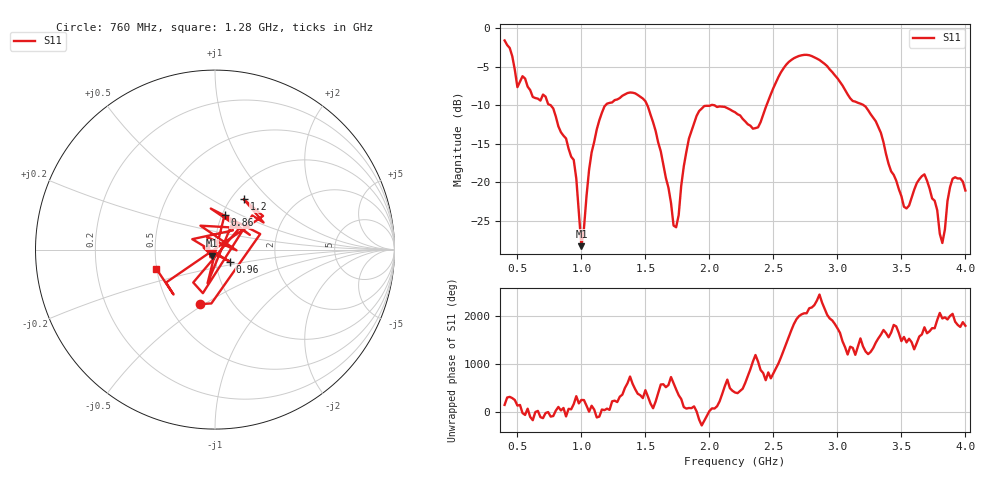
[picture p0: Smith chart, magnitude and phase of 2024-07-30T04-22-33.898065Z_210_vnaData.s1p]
!Created with skrf (http://scikit-rf.org).
# Hz S RI R 50.0
!freq ReS11 ImS11
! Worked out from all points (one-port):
!   181 points, 400 MHz to 4 GHz, reference 50 ohm
!   lowest |S11| = -28.3 dB at 1 GHz (marker M1), VSWR 1.08, Z = 48.2 - j3.3 ohm
!   |S11| at or under -10 dB: 757.3 MHz to 1.19 GHz (432.7 MHz wide, 44.4 % of centre); 1.514 GHz to 2.016 GHz (501.7 MHz wide, 28.4 % of centre); 3.203 GHz to end of sweep (the widest 3 of 4)
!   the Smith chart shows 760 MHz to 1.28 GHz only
!   S11 on the Smith chart (normalised r, x): 760 MHz: 0.71, -0.48; 860 MHz: 1.03, +0.41; 960 MHz: 1.17, -0.16; 1.2 GHz: 1.14, +0.72; 1.28 GHz: 0.50, -0.12
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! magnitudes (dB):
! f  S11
! 400 MHz  -1.6
! 500 MHz  -7.7
! 760 MHz  -10.0
! 860 MHz  -14.0
! 960 MHz  -19.5
! 1 GHz  -28.3
! 1.08 GHz  -16.1
! 1.2 GHz  -9.8
! 1.28 GHz  -9.3
! 1.3 GHz  -9.1
! 1.5 GHz  -9.5
! 1.62 GHz  -16.0
! 1.72 GHz  -25.6
! 1.76 GHz  -24.3
! 1.84 GHz  -14.4
! 1.92 GHz  -10.8
! 2.2 GHz  -10.9
! 2.38 GHz  -12.9
! 2.66 GHz  -3.9
! 2.86 GHz  -4.1
! 3.1 GHz  -9.1
! 3.3 GHz  -12.1
! 3.52 GHz  -23.2
! 3.56 GHz  -23.1
! 3.68 GHz  -19.0
! 3.82 GHz  -27.9
! 3.9 GHz  -19.6
! 4 GHz  -21.1
